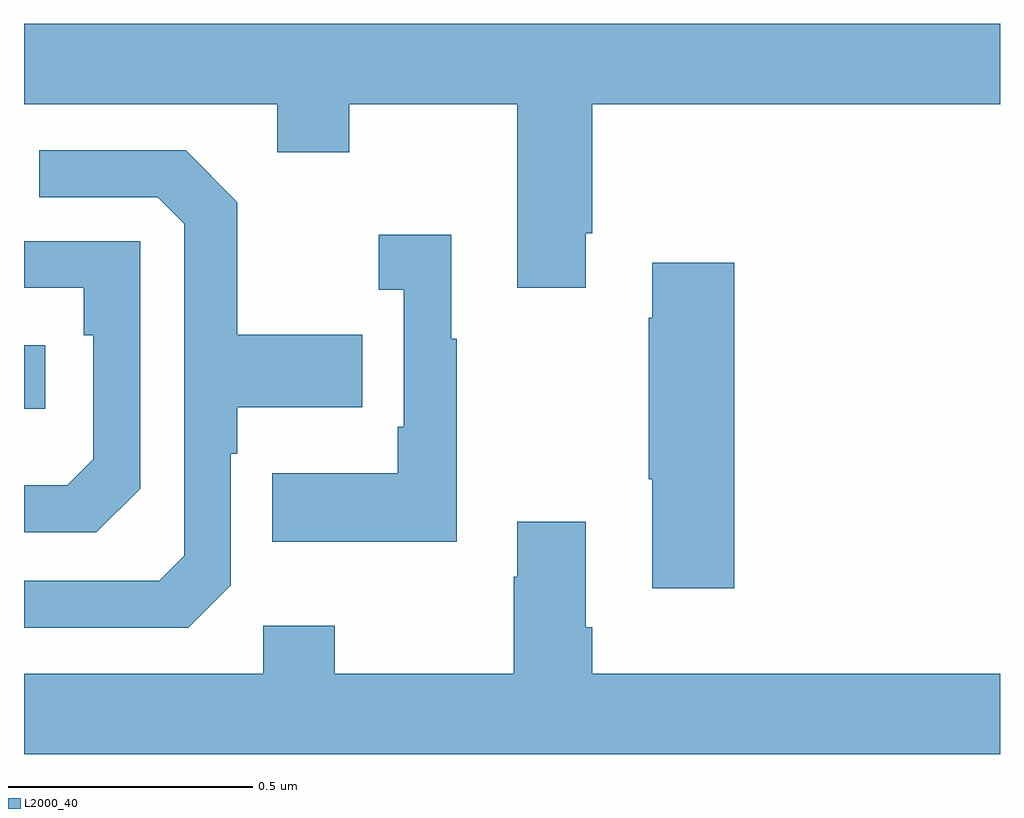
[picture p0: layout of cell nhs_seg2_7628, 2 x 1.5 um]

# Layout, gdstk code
import gdstk
lib = gdstk.Library(unit=1e-6, precision=1e-09)
def R(c, l, rs):  # rectangles x0, y0, x1, y1
    for r in rs: c.add(gdstk.rectangle(r[:2], r[2:], *l))
def P(c, l, *ps):  # polygons
    for p in ps: c.add(gdstk.Polygon(p, *l))
L2000_40 = (2000, 40)

nhs_seg2_7628 = lib.new_cell('nhs_seg2_7628')
R(nhs_seg2_7628, L2000_40, [(206,647.012,206.044,647.142)])
P(nhs_seg2_7628, L2000_40, [(207.151,647.371),(207.164,647.371),(207.164,647.636),(208,647.636),(208,647.8),(206,647.8),(206,647.636),(206.519,647.636),(206.519,647.537),(206.667,647.537),(206.667,647.636),(207.011,647.636),(207.011,647.259),(207.151,647.259)],
  [(206.424,646.65),(206.424,646.919),(206.437,646.919),(206.437,647.015),(206.693,647.015),(206.693,647.163),(206.437,647.163),(206.437,647.435),(206.331,647.541),(206.031,647.541),(206.031,647.445),(206.274,647.445),(206.328,647.391),(206.328,646.71),(206.277,646.659),(206.001,646.659),(206.001,646.563),(206.337,646.563)],
  [(206.887,647.155),(206.875,647.155),(206.875,647.368),(206.727,647.368),(206.727,647.255),(206.778,647.255),(206.778,646.975),(206.766,646.975),(206.766,646.879),(206.509,646.879),(206.509,646.739),(206.887,646.739)],
  [(206.238,646.848),(206.238,647.355),(206,647.355),(206,647.259),(206.122,647.259),(206.122,647.162),(206.142,647.162),(206.142,646.908),(206.089,646.855),(206,646.855),(206,646.758),(206.148,646.758)],
  [(207.455,647.311),(207.287,647.311),(207.287,647.198),(207.28,647.198),(207.28,646.867),(207.287,646.867),(207.287,646.644),(207.455,646.644)],
  [(208,646.468),(207.164,646.468),(207.164,646.564),(207.151,646.564),(207.151,646.78),(207.011,646.78),(207.011,646.667),(207.004,646.667),(207.004,646.468),(206.637,646.468),(206.637,646.567),(206.49,646.567),(206.49,646.468),(206,646.468),(206,646.304),(208,646.304)])

lib.write_gds('nhs_seg2_7628.gds')
